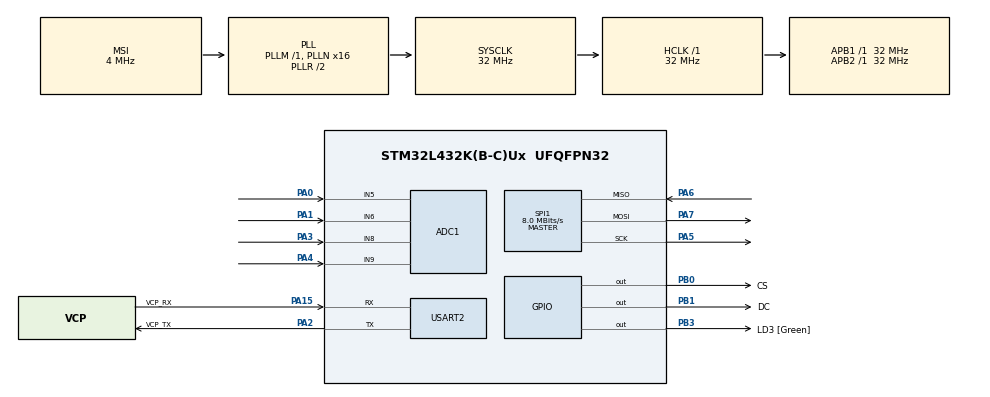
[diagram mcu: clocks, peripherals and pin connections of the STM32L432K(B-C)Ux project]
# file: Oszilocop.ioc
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ADC1.Channel-1\#ChannelRegularConversion=ADC_CHANNEL_5
ADC1.Channel-2\#ChannelRegularConversion=ADC_CHANNEL_6
ADC1.Channel-3\#ChannelRegularConversion=ADC_CHANNEL_8
ADC1.Channel-4\#ChannelRegularConversion=ADC_CHANNEL_9
ADC1.ContinuousConvMode=ENABLE
ADC1.DMAContinuousRequests=ENABLE
ADC1.EOCSelection=ADC_EOC_SEQ_CONV
ADC1.NbrOfConversion=4
ADC1.NbrOfConversionFlag=1
ADC1.OffsetNumber-1\#ChannelRegularConversion=ADC_OFFSET_NONE
ADC1.OffsetNumber-2\#ChannelRegularConversion=ADC_OFFSET_NONE
ADC1.OffsetNumber-3\#ChannelRegularConversion=ADC_OFFSET_NONE
ADC1.OffsetNumber-4\#ChannelRegularConversion=ADC_OFFSET_NONE
ADC1.Overrun=ADC_OVR_DATA_OVERWRITTEN
ADC1.Rank-1\#ChannelRegularConversion=1
ADC1.Rank-2\#ChannelRegularConversion=2
ADC1.Rank-3\#ChannelRegularConversion=3
ADC1.Rank-4\#ChannelRegularConversion=4
ADC1.SamplingTime-1\#ChannelRegularConversion=ADC_SAMPLETIME_2CYCLES_5
ADC1.SamplingTime-2\#ChannelRegularConversion=ADC_SAMPLETIME_2CYCLES_5
ADC1.SamplingTime-3\#ChannelRegularConversion=ADC_SAMPLETIME_2CYCLES_5
ADC1.SamplingTime-4\#ChannelRegularConversion=ADC_SAMPLETIME_2CYCLES_5
ADC1.master=1
Dma.ADC1.0.Direction=DMA_PERIPH_TO_MEMORY
Dma.ADC1.0.Instance=DMA1_Channel1
Dma.ADC1.0.MemDataAlignment=DMA_MDATAALIGN_HALFWORD
Dma.ADC1.0.MemInc=DMA_MINC_ENABLE
Dma.ADC1.0.Mode=DMA_CIRCULAR
Dma.ADC1.0.PeriphDataAlignment=DMA_PDATAALIGN_HALFWORD
Dma.ADC1.0.PeriphInc=DMA_PINC_DISABLE
Dma.ADC1.0.Priority=DMA_PRIORITY_HIGH
Dma.Request0=ADC1
Mcu.Family=STM32L4
Mcu.Name=STM32L432K(B-C)Ux
Mcu.Package=UFQFPN32
NVIC.DMA1_Channel1_IRQn=true\:0\:0\:false\:false\:true\:false\:true\:true
NVIC.PriorityGroup=NVIC_PRIORITYGROUP_4
PA0.Signal=ADCx_IN5
PA1.Signal=ADCx_IN6
PA13\ (JTMS-SWDIO).GPIO_Label=SWDIO
PA13\ (JTMS-SWDIO).Mode=Serial_Wire
PA13\ (JTMS-SWDIO).Signal=SYS_JTMS-SWDIO
PA14\ (JTCK-SWCLK).GPIO_Label=SWCLK
PA14\ (JTCK-SWCLK).Mode=Serial_Wire
PA14\ (JTCK-SWCLK).Signal=SYS_JTCK-SWCLK
PA15\ (JTDI).GPIO_Label=VCP_RX
PA15\ (JTDI).Mode=Asynchronous
PA15\ (JTDI).Signal=USART2_RX
PA2.GPIO_Label=VCP_TX
PA2.Mode=Asynchronous
PA2.Signal=USART2_TX
PA3.Signal=ADCx_IN8
PA4.Signal=ADCx_IN9
PA5.Mode=Full_Duplex_Master
PA5.Signal=SPI1_SCK
PA6.Mode=Full_Duplex_Master
PA6.Signal=SPI1_MISO
PA7.Mode=Full_Duplex_Master
PA7.Signal=SPI1_MOSI
PB0.GPIO_Label=CS
PB0.GPIO_PuPd=GPIO_PULLUP
PB0.GPIO_Speed=GPIO_SPEED_FREQ_VERY_HIGH
PB0.Signal=GPIO_Output
PB1.GPIO_Label=DC
PB1.GPIO_PuPd=GPIO_PULLUP
PB1.GPIO_Speed=GPIO_SPEED_FREQ_VERY_HIGH
PB1.Signal=GPIO_Output
PB3\ (JTDO-TRACESWO).GPIO_Label=LD3 [Green]
PB3\ (JTDO-TRACESWO).Signal=GPIO_Output
PC14-OSC32_IN\ (PC14).Mode=LSE-External-Oscillator
PC14-OSC32_IN\ (PC14).Signal=RCC_OSC32_IN
PC15-OSC32_OUT\ (PC15).Mode=LSE-External-Oscillator
PC15-OSC32_OUT\ (PC15).Signal=RCC_OSC32_OUT
ProjectManager.HeapSize=0x200
ProjectManager.StackSize=0x400
ProjectManager.TargetToolchain=STM32CubeIDE
RCC.ADCFreq_Value=32000000
RCC.AHBFreq_Value=32000000
RCC.APB1Freq_Value=32000000
RCC.APB1TimFreq_Value=32000000
RCC.APB2Freq_Value=32000000
RCC.APB2TimFreq_Value=32000000
RCC.CortexFreq_Value=32000000
RCC.HCLKFreq_Value=32000000
RCC.HSE_VALUE=8000000
RCC.HSI16_VALUE=16000000
RCC.HSI48_VALUE=48000000
RCC.HSI_VALUE=16000000
RCC.MSI_VALUE=4000000
RCC.PLLMUL=RCC_PLLMUL_4
RCC.PLLN=16
RCC.PLLSAI1N=16
RCC.SYSCLKFreq_VALUE=32000000
RCC.SYSCLKSource=RCC_SYSCLKSOURCE_PLLCLK
RCC.USBFreq_Value=32000000
RCC.VCOOutputFreq_Value=64000000
SH.ADCx_IN5.0=ADC1_IN5,IN5-Single-Ended
SH.ADCx_IN6.0=ADC1_IN6,IN6-Single-Ended
SH.ADCx_IN8.0=ADC1_IN8,IN8-Single-Ended
SH.ADCx_IN9.0=ADC1_IN9,IN9-Single-Ended
SPI1.BaudRatePrescaler=SPI_BAUDRATEPRESCALER_4
SPI1.CalculateBaudRate=8.0 MBits/s
SPI1.DataSize=SPI_DATASIZE_8BIT
SPI1.Direction=SPI_DIRECTION_2LINES
SPI1.Mode=SPI_MODE_MASTER
SPI1.VirtualType=VM_MASTER
USART2.VirtualMode-Asynchronous=VM_ASYNC
VP_TIM6_VS_ClockSourceINT.Mode=Enable_Timer
board=NUCLEO-L432KC

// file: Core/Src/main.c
/* USER CODE BEGIN Header */
/**
  ******************************************************************************
  * @file           : main.c
  * @brief          : Main program body
  ******************************************************************************
  * @attention
  *
  * Copyright (c) 2025 STMicroelectronics.
  * All rights reserved.
  *
  * This software is licensed under terms that can be found in the LICENSE file
  * in the root directory of this software component.
  * If no LICENSE file comes with this software, it is provided AS-IS.
  *
  ******************************************************************************
  */

/* USER CODE END Header */
#include "main.h"
#include "adc.h"
#include "dma.h"
#include "spi.h"
#include "tim.h"
#include "usart.h"
#include "gpio.h"
/* USER CODE BEGIN Includes */
#include "ili9341.h"
#include "fonts.h"
#include "adcAcq.h"
#include "scopeControl.h"

#include <stdio.h>
#include <string.h>
/* USER CODE END Includes */

void SystemClock_Config(void);

int main(void)
{

  /* MCU Configuration--------------------------------------------------------*/

  /* Reset of all peripherals, Initializes the Flash interface and the Systick. */
  HAL_Init();

  /* Configure the system clock */
  SystemClock_Config();

  /* Initialize all configured peripherals */
  MX_GPIO_Init();
  MX_DMA_Init();
  MX_USART2_UART_Init();
  MX_ADC1_Init();
  MX_SPI1_Init();
  MX_TIM6_Init();
  /* USER CODE BEGIN 2 */
  ILI9341TypeDef display = {
      .spi = &hspi1,
      .cs_gpio_port = ILI9341_CS_GPIO_PORT,
      .dc_gpio_port = ILI9341_DC_GPIO_PORT,
      .reset_gpio_port = ILI9341_RESET_GPIO_PORT,
      .cs_pin = ILI9341_CS_PIN,
      .dc_pin = ILI9341_DC_PIN,
      .reset_pin = ILI9341_RESET_PIN,
      .width = ILI9341_WIDTH,
      .height = ILI9341_HEIGHT,
      .orientation = ILI9341_ORIENTATION_DEFAULT
  };

  ILI9341_Init(&display);
  ILI9341_FillScreen(&display, ILI9341_BLACK);
  ILI9341_WriteString(&display, 10, 10, "Display OK!", Font_11x18, ILI9341_WHITE, ILI9341_BLACK);

  // optional: Display oder UART init, falls du debuggen willst
  adcAcqInit();

  char msg[100];

  if (adcAcqStart() != HAL_OK) {
     Error_Handler();
  }

  /* USER CODE END 2 */

  /* Infinite loop */
  while (1)
  {

    /* USER CODE BEGIN 3 */
	  adc_update_all();

	          for (int ch = 0; ch < 4; ch++)
	          {
	              uint16_t raw = adc_get_raw(ch);
	              float v_pin  = adc_get_voltage(ch);
	              float v_real = adc_get_real_voltage(ch);

	              snprintf(msg, sizeof(msg),
	                  "CH%d  RAW=%u  Vin=%.3fV  Real=%.2fV\r\n",
	                  ch, raw, v_pin, v_real);

	              HAL_UART_Transmit(&huart2, (uint8_t*)msg, strlen(msg), HAL_MAX_DELAY);
	          }

	          HAL_Delay(500);
  }
  /* USER CODE END 3 */
}

void SystemClock_Config(void)
{
  RCC_OscInitTypeDef RCC_OscInitStruct = {0};
  RCC_ClkInitTypeDef RCC_ClkInitStruct = {0};

  /** Configure the main internal regulator output voltage
  */
  if (HAL_PWREx_ControlVoltageScaling(PWR_REGULATOR_VOLTAGE_SCALE1) != HAL_OK)
  {
    Error_Handler();
  }

  /** Configure LSE Drive Capability
  */
  HAL_PWR_EnableBkUpAccess();
  __HAL_RCC_LSEDRIVE_CONFIG(RCC_LSEDRIVE_LOW);

  /** Initializes the RCC Oscillators according to the specified parameters
  * in the RCC_OscInitTypeDef structure.
  */
  RCC_OscInitStruct.OscillatorType = RCC_OSCILLATORTYPE_LSE|RCC_OSCILLATORTYPE_MSI;
  RCC_OscInitStruct.LSEState = RCC_LSE_ON;
  RCC_OscInitStruct.MSIState = RCC_MSI_ON;
  RCC_OscInitStruct.MSICalibrationValue = 0;
  RCC_OscInitStruct.MSIClockRange = RCC_MSIRANGE_6;
  RCC_OscInitStruct.PLL.PLLState = RCC_PLL_ON;
  RCC_OscInitStruct.PLL.PLLSource = RCC_PLLSOURCE_MSI;
  RCC_OscInitStruct.PLL.PLLM = 1;
  RCC_OscInitStruct.PLL.PLLN = 16;
  RCC_OscInitStruct.PLL.PLLP = RCC_PLLP_DIV7;
  RCC_OscInitStruct.PLL.PLLQ = RCC_PLLQ_DIV2;
  RCC_OscInitStruct.PLL.PLLR = RCC_PLLR_DIV2;
  if (HAL_RCC_OscConfig(&RCC_OscInitStruct) != HAL_OK)
  {
    Error_Handler();
  }

  /** Initializes the CPU, AHB and APB buses clocks
  */
  RCC_ClkInitStruct.ClockType = RCC_CLOCKTYPE_HCLK|RCC_CLOCKTYPE_SYSCLK
                              |RCC_CLOCKTYPE_PCLK1|RCC_CLOCKTYPE_PCLK2;
  RCC_ClkInitStruct.SYSCLKSource = RCC_SYSCLKSOURCE_PLLCLK;
  RCC_ClkInitStruct.AHBCLKDivider = RCC_SYSCLK_DIV1;
  RCC_ClkInitStruct.APB1CLKDivider = RCC_HCLK_DIV1;
  RCC_ClkInitStruct.APB2CLKDivider = RCC_HCLK_DIV1;

  if (HAL_RCC_ClockConfig(&RCC_ClkInitStruct, FLASH_LATENCY_1) != HAL_OK)
  {
    Error_Handler();
  }

  /** Enable MSI Auto calibration
  */
  HAL_RCCEx_EnableMSIPLLMode();
}

void Error_Handler(void)
{
  /* USER CODE BEGIN Error_Handler_Debug */
  /* User can add his own implementation to report the HAL error return state */
  __disable_irq();
  while (1)
  {
	    ScopeUpdateLogic();   // <-- Steuerlogik ausführen
	    HAL_Delay(50);        // kleine Entprellpause
  }
  /* USER CODE END Error_Handler_Debug */
}
